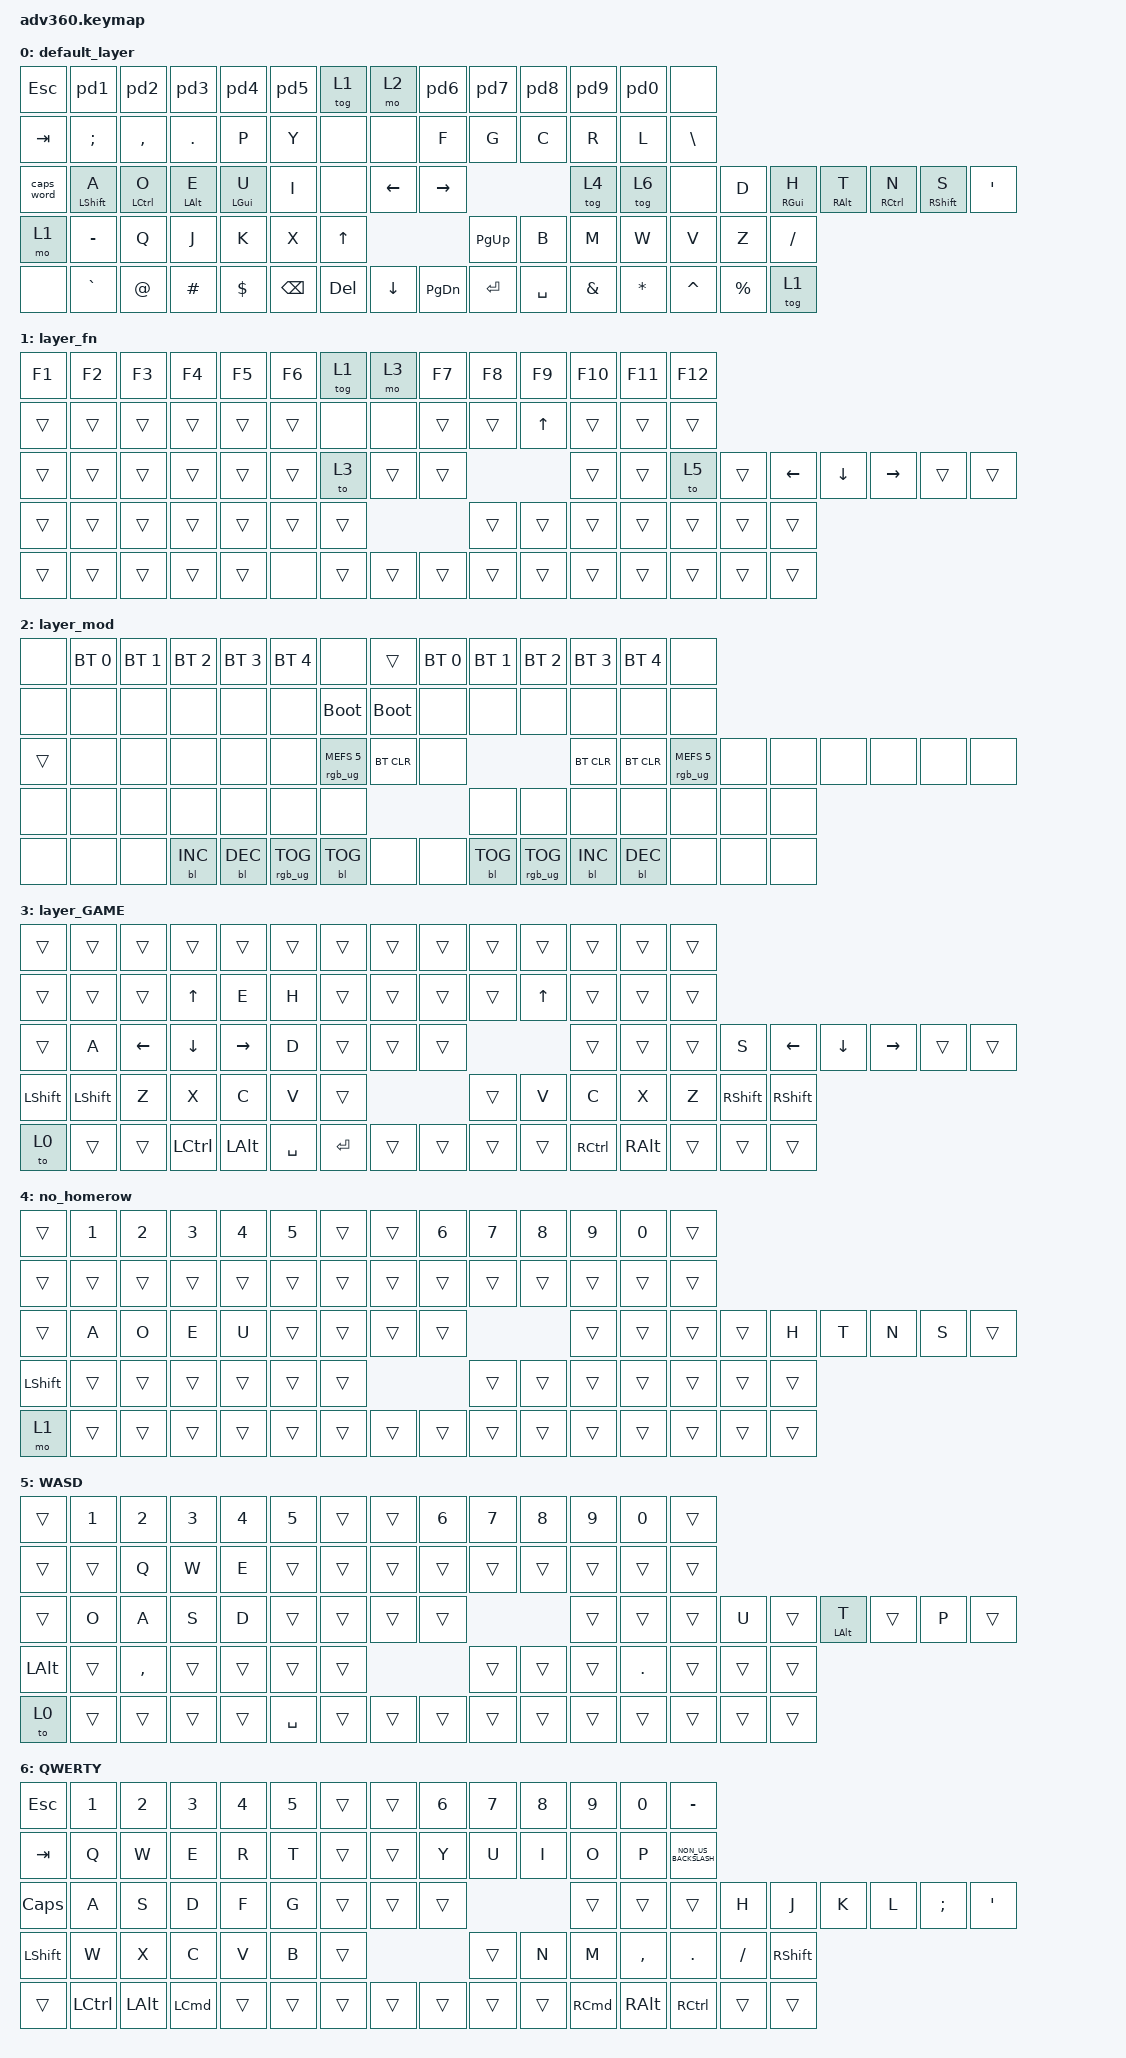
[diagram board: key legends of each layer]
/*
 * Copyright (c) 2020 The ZMK Contributors
 *
 * SPDX-License-Identifier: MIT
 */
/* THIS FILE WAS GENERATED!
 *
 * This file was generated automatically. You may or may not want to
 * edit it directly.
 */

#include <behaviors.dtsi>
#include <dt-bindings/zmk/backlight.h>
#include <dt-bindings/zmk/bt.h>
#include <dt-bindings/zmk/keys.h>
#include <dt-bindings/zmk/rgb.h>

&caps_word { continue-list = <UNDERSCORE MINUS BACKSPACE DELETE LEFT RIGHT UP DOWN>; };

/ {
    behaviors {
        #include "macros.dtsi"

        lh_hm: left_hand_home_mods {
            compatible = "zmk,behavior-hold-tap";
            label = "LEFT_HOME_ROW";
            #binding-cells = <2>;
            flavor = "balanced";
            tapping-term-ms = <200>;// <---[[produces tap if held longer than tapping-term-ms]]
            bindings = <&kp>, <&kp>;
        };

        rh_hm: right_hand_home_mods {
            compatible = "zmk,behavior-hold-tap";
            label = "RIGHT_HOME_ROW";
            #binding-cells = <2>;
            flavor = "balanced";
            tapping-term-ms = <200>;
            bindings = <&kp>, <&kp>;
        };

        pd0: prog_dvorak_zero_def {
            compatible = "zmk,behavior-mod-morph";
            label = "pd0";
            mods = <(MOD_LSFT|MOD_RSFT)>;
            #binding-cells = <0>;
            bindings = <&kp EXCL>, <&kp N0>;
        };

        pd9: prog_dvorak_nine_def {
            compatible = "zmk,behavior-mod-morph";
            label = "pd9";
            mods = <(MOD_LSFT|MOD_RSFT)>;
            #binding-cells = <0>;
            bindings = <&kp PLUS>, <&kp N9>;
        };

        pd8: prog_dvorak_eight_def {
            compatible = "zmk,behavior-mod-morph";
            label = "pd8";
            mods = <(MOD_LSFT|MOD_RSFT)>;
            #binding-cells = <0>;
            bindings = <&kp RIGHT_BRACE>, <&kp N8>;
        };

        pd7: prog_dvorak_seven_def {
            compatible = "zmk,behavior-mod-morph";
            label = "pd7";
            mods = <(MOD_LSFT|MOD_RSFT)>;
            #binding-cells = <0>;
            bindings = <&kp RIGHT_PARENTHESIS>, <&kp N7>;
        };

        pd6: prog_dvorak_six_def {
            compatible = "zmk,behavior-mod-morph";
            label = "pd6";
            mods = <(MOD_LSFT|MOD_RSFT)>;
            #binding-cells = <0>;
            bindings = <&kp RIGHT_BRACKET>, <&kp N6>;
        };

        pd5: prog_dvorak_five_def {
            compatible = "zmk,behavior-mod-morph";
            label = "pd5";
            mods = <(MOD_LSFT|MOD_RSFT)>;
            #binding-cells = <0>;
            bindings = <&kp LEFT_BRACKET>, <&kp N5>;
        };

        pd4: prog_dvorak_four_def {
            compatible = "zmk,behavior-mod-morph";
            label = "pd4";
            mods = <(MOD_LSFT|MOD_RSFT)>;
            #binding-cells = <0>;
            bindings = <&kp LEFT_PARENTHESIS>, <&kp N4>;
        };

        pd3: prog_dvorak_three_def {
            compatible = "zmk,behavior-mod-morph";
            label = "pd3";
            mods = <(MOD_LSFT|MOD_RSFT)>;
            #binding-cells = <0>;
            bindings = <&kp LBRC>, <&kp N3>;
        };

        pd2: prog_dvorak_two_def {
            compatible = "zmk,behavior-mod-morph";
            label = "pd2";
            mods = <(MOD_LSFT|MOD_RSFT)>;
            #binding-cells = <0>;
            bindings = <&kp EQUAL>, <&kp N2>;
        };

        pd1: prog_dvorak_one_def {
            compatible = "zmk,behavior-mod-morph";
            label = "pd1";
            mods = <(MOD_LSFT|MOD_RSFT)>;
            #binding-cells = <0>;
            bindings = <&kp EXCLAMATION>, <&kp N1>;
        };
    };

    keymap {
        compatible = "zmk,keymap";

        default_layer {
            bindings = <
&kp ESC     &pd1            &pd2            &pd3           &pd4           &pd5      &tog 1      &mo 2     &pd6       &pd7       &pd8       &pd9           &pd0      &none
&kp TAB     &kp SEMICOLON   &kp COMMA       &kp DOT        &kp P          &kp Y     &none       &none     &kp F      &kp G      &kp C      &kp R          &kp L     &kp BACKSLASH
&caps_word  &lh_hm LSHFT A  &lh_hm LCTRL O  &lh_hm LALT E  &lh_hm LGUI U  &kp I     &none       &kp LEFT  &kp RIGHT                        &tog 4         &tog 6    &none          &kp D        &rh_hm RGUI H  &rh_hm RALT T  &rh_hm RCTRL N  &rh_hm RSHFT S  &kp SQT
&mo 1       &kp MINUS       &kp Q           &kp J          &kp K          &kp X                           &kp UP     &kp PG_UP  &kp B      &kp M          &kp W     &kp V          &kp Z        &kp SLASH
&none       &kp GRAVE       &kp AT          &kp HASH       &kp DOLLAR     &kp BSPC  &kp DELETE  &kp DOWN  &kp PG_DN  &kp ENTER  &kp SPACE  &kp AMPERSAND  &kp STAR  &kp CARET      &kp PERCENT  &tog 1
            >;
        };

        layer_fn {
            bindings = <
&kp F1  &kp F2  &kp F3  &kp F4  &kp F5  &kp F6  &tog 1  &mo 3   &kp F7  &kp F8  &kp F9        &kp F10  &kp F11  &kp F12
&trans  &trans  &trans  &trans  &trans  &trans  &none   &none   &trans  &trans  &kp UP_ARROW  &trans   &trans   &trans
&trans  &trans  &trans  &trans  &trans  &trans  &to 3   &trans  &trans                        &trans   &trans   &to 5    &trans  &kp LEFT_ARROW  &kp DOWN_ARROW  &kp RIGHT_ARROW  &trans  &trans
&trans  &trans  &trans  &trans  &trans  &trans                  &trans  &trans  &trans        &trans   &trans   &trans   &trans  &trans
&trans  &trans  &trans  &trans  &trans  &none   &trans  &trans  &trans  &trans  &trans        &trans   &trans   &trans   &trans  &trans
            >;
        };

        layer_mod {
            bindings = <
&none   &bt BT_SEL 0  &bt BT_SEL 1  &bt BT_SEL 2  &bt BT_SEL 3  &bt BT_SEL 4     &none                   &trans       &bt BT_SEL 0  &bt BT_SEL 1  &bt BT_SEL 2     &bt BT_SEL 3  &bt BT_SEL 4  &none
&none   &none         &none         &none         &none         &none            &bootloader             &bootloader  &none         &none         &none            &none         &none         &none
&trans  &none         &none         &none         &none         &none            &rgb_ug RGB_MEFS_CMD 5  &bt BT_CLR   &none                                        &bt BT_CLR    &bt BT_CLR    &rgb_ug RGB_MEFS_CMD 5  &none  &none  &none  &none  &none  &none
&none   &none         &none         &none         &none         &none                                                 &none         &none         &none            &none         &none         &none                   &none  &none
&none   &none         &none         &bl BL_INC    &bl BL_DEC    &rgb_ug RGB_TOG  &bl BL_TOG              &none        &none         &bl BL_TOG    &rgb_ug RGB_TOG  &bl BL_INC    &bl BL_DEC    &none                   &none  &none
            >;
        };

        layer_GAME {
            bindings = <
&trans          &trans          &trans          &trans          &trans           &trans     &trans     &trans  &trans  &trans  &trans  &trans     &trans    &trans
&trans          &trans          &trans          &kp UP_ARROW    &kp E            &kp H      &trans     &trans  &trans  &trans  &kp UP  &trans     &trans    &trans
&trans          &kp A           &kp LEFT_ARROW  &kp DOWN_ARROW  &kp RIGHT_ARROW  &kp D      &trans     &trans  &trans                  &trans     &trans    &trans  &kp S            &kp LEFT         &kp DOWN  &kp RIGHT  &trans  &trans
&kp LEFT_SHIFT  &kp LEFT_SHIFT  &kp Z           &kp X           &kp C            &kp V                         &trans  &trans  &kp V   &kp C      &kp X     &kp Z   &kp RIGHT_SHIFT  &kp RIGHT_SHIFT
&to 0           &trans          &trans          &kp LCTRL       &kp LEFT_ALT     &kp SPACE  &kp ENTER  &trans  &trans  &trans  &trans  &kp RCTRL  &kp RALT  &trans  &trans           &trans
            >;
        };

        no_homerow {
            bindings = <
&trans          &kp NUMBER_1  &kp NUMBER_2  &kp NUMBER_3  &kp NUMBER_4  &kp NUMBER_5  &trans  &trans  &kp NUMBER_6  &kp NUMBER_7  &kp NUMBER_8  &kp NUMBER_9  &kp NUMBER_0  &trans
&trans          &trans        &trans        &trans        &trans        &trans        &trans  &trans  &trans        &trans        &trans        &trans        &trans        &trans
&trans          &kp A         &kp O         &kp E         &kp U         &trans        &trans  &trans  &trans                                    &trans        &trans        &trans  &trans  &kp H   &kp T  &kp N  &kp S  &trans
&kp LEFT_SHIFT  &trans        &trans        &trans        &trans        &trans                        &trans        &trans        &trans        &trans        &trans        &trans  &trans  &trans
&mo 1           &trans        &trans        &trans        &trans        &trans        &trans  &trans  &trans        &trans        &trans        &trans        &trans        &trans  &trans  &trans
            >;
        };

        WASD {
            bindings = <
&trans        &kp NUMBER_1  &kp NUMBER_2  &kp NUMBER_3  &kp NUMBER_4  &kp NUMBER_5  &trans  &trans  &kp NUMBER_6  &kp NUMBER_7  &kp NUMBER_8  &kp NUMBER_9  &kp NUMBER_0  &trans
&trans        &trans        &kp Q         &kp W         &kp E         &trans        &trans  &trans  &trans        &trans        &trans        &trans        &trans        &trans
&trans        &kp O         &kp A         &kp S         &kp D         &trans        &trans  &trans  &trans                                    &trans        &trans        &trans  &kp U   &trans  &lh_hm LALT T  &trans  &kp P  &trans
&kp LEFT_ALT  &trans        &kp COMMA     &trans        &trans        &trans                        &trans        &trans        &trans        &trans        &kp PERIOD    &trans  &trans  &trans
&to 0         &trans        &trans        &trans        &trans        &kp SPACE     &trans  &trans  &trans        &trans        &trans        &trans        &trans        &trans  &trans  &trans
            >;
        };

        QWERTY {
            bindings = <
&kp ESCAPE      &kp NUMBER_1  &kp NUMBER_2  &kp NUMBER_3      &kp NUMBER_4  &kp NUMBER_5  &trans  &trans  &kp NUMBER_6  &kp NUMBER_7  &kp NUMBER_8  &kp NUMBER_9       &kp NUMBER_0   &kp MINUS
&kp TAB         &kp Q         &kp W         &kp E             &kp R         &kp T         &trans  &trans  &kp Y         &kp U         &kp I         &kp O              &kp P          &kp NON_US_BACKSLASH
&kp CAPS        &kp A         &kp S         &kp D             &kp F         &kp G         &trans  &trans  &trans                                    &trans             &trans         &trans                &kp H      &kp J            &kp K  &kp L  &kp SEMICOLON  &kp SQT
&kp LEFT_SHIFT  &kp W         &kp X         &kp C             &kp V         &kp B                         &trans        &trans        &kp N         &kp M              &kp COMMA      &kp PERIOD            &kp SLASH  &kp RIGHT_SHIFT
&trans          &kp LCTRL     &kp LEFT_ALT  &kp LEFT_COMMAND  &trans        &trans        &trans  &trans  &trans        &trans        &trans        &kp RIGHT_COMMAND  &kp RIGHT_ALT  &kp RIGHT_CONTROL     &trans     &trans
            >;
        };
    };
};
